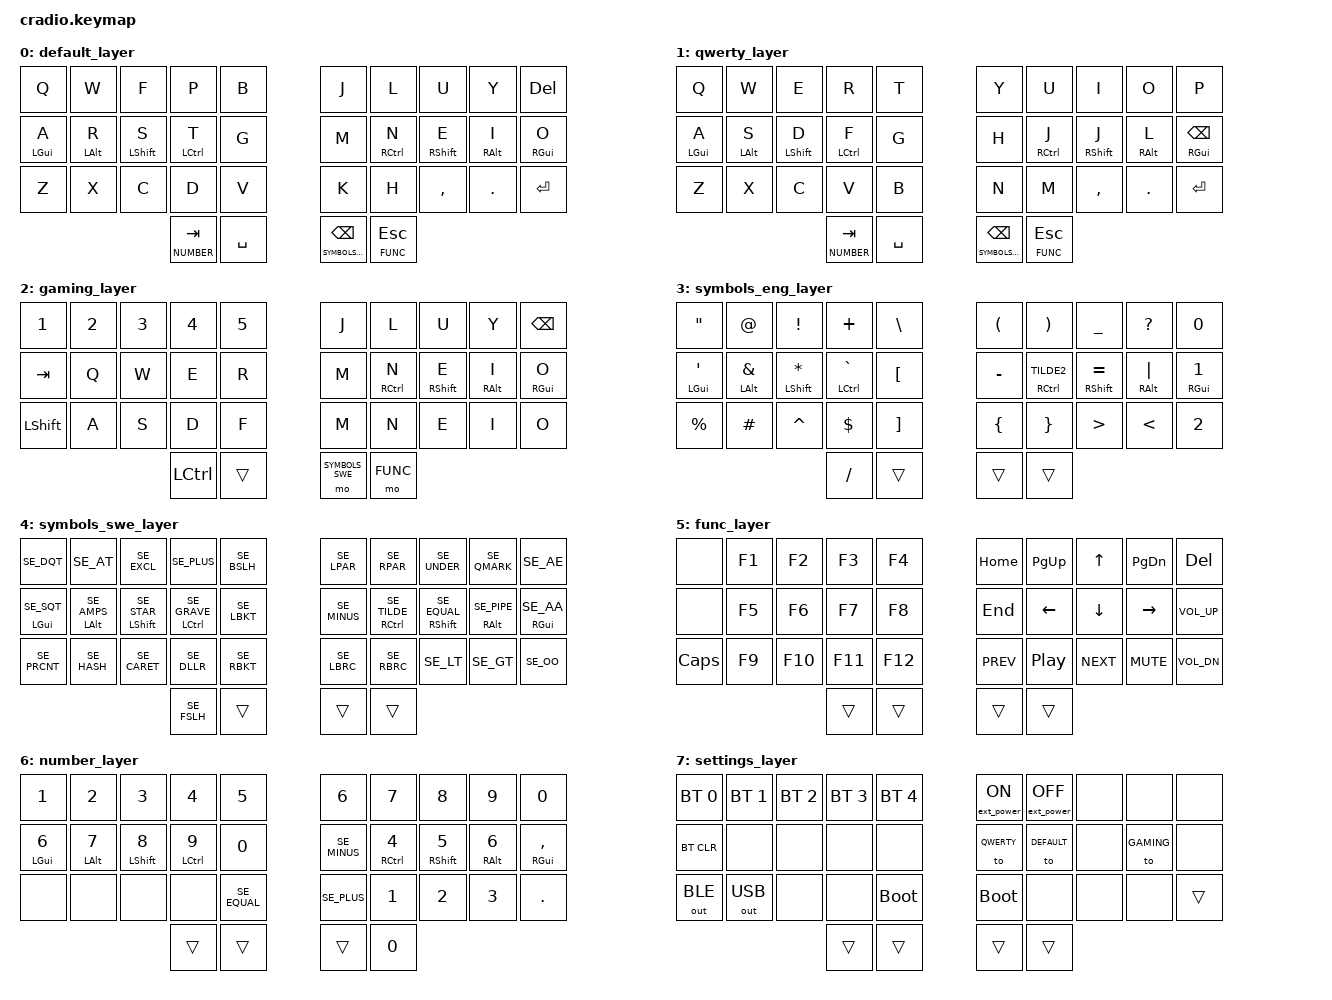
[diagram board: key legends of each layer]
/*
 * Copyright (c) 2020 The ZMK Contributors
 *
 * SPDX-License-Identifier: MIT
 */

#include <behaviors.dtsi>
#include <dt-bindings/zmk/keys.h>
#include <dt-bindings/zmk/bt.h>
#include <dt-bindings/zmk/outputs.h>
#include <dt-bindings/zmk/ext_power.h>
#include "swe_keys.h"

#define DEFAULT     0
#define QWERTY      1
#define GAMING      2
#define SYMBOLS_ENG 3
#define SYMBOLS_SWE 4
#define FUNC        5
#define NUMBER      6
#define SETTINGS    7

/ {
    behaviors {
        hm: homerow_mods {
            compatible = "zmk,behavior-hold-tap";
            label = "HOMEROW_MODS";
            #binding-cells = <2>;
            tapping-term-ms = <200>;
            quick-tap-ms = <0>;
            flavor = "tap-preferred";
            bindings = <&kp>, <&kp>;
        };
        hs: homerow_mods_slow {
            compatible = "zmk,behavior-hold-tap";
            label = "HOMEROW_MODS_SLOW";
            #binding-cells = <2>;
            tapping-term-ms = <300>;
            quick-tap-ms = <0>;
            flavor = "tap-preferred";
            bindings = <&kp>, <&kp>;
        };
    };
    cond_layers {
        compatible = "zmk,conditional-layers";
        // Define SETTINGS layer as tri-state
        func_tristate {
            if-layers = <SYMBOLS_SWE FUNC>;
            then-layer = <SETTINGS>;
        };
    };

/*           34 Keys
╭──────────────╮ ╭──────────────╮
│ 0  1  2  3  4│ │ 5  6  7  8  9│
│10 11 12 13 14│ │15 16 17 18 19│
│20 21 22 23 24│ │25 26 27 28 29│
╰────────╮30 31│ │32 33╭────────╯
         ╰─────╯ ╰─────╯       */
/*    combos {
        compatible = "zmk,combos";

        combo_esc {
            timeout-ms = <50>;
            key-positions = <0 1>;
            bindings = <&kp ESC>;
        };
        combo_tab {
            timeout-ms = <50>;
            key-positions = <10 11>;
            bindings = <&kp TAB>;
        };
        combo_ralt {
            timeout-ms = <50>;
            key-positions = <17 16>;
            bindings = <&kp RALT>;
        };
        combo_lalt {
            timeout-ms = <50>;
            key-positions = <11 12>;
            bindings = <&kp LALT>;
        };
        combo_lgui {
            timeout-ms = <50>;
            key-positions = <12 13>;
            bindings = <&kp LGUI>;
        };
        combo_rgui {
            timeout-ms = <50>;
            key-positions = <17 18>;
            bindings = <&kp RGUI>;
        };
    }; */

    keymap {
        compatible = "zmk,keymap";

        default_layer {
            bindings = <
            &kp Q       &kp W       &kp F         &kp P           &kp B       &kp J                 &kp L         &kp U         &kp Y       &kp DEL
            &hs LGUI A  &hm LALT R  &hm LSHIFT S  &hm LCTRL T     &kp G       &kp M                 &hm RCTRL N   &hm RSHIFT E  &hm RALT I  &hs RGUI O
            &kp Z       &kp X       &kp C         &kp D           &kp V       &kp K                 &kp H         &kp COMMA     &kp DOT     &kp ENTER
                                                  &lt NUMBER TAB  &kp SPACE   &lt SYMBOLS_SWE BSPC  &lt FUNC ESC
            >;
        };

        qwerty_layer {
            bindings = <
            &kp Q       &kp W       &kp E         &kp R           &kp T       &kp Y                 &kp U         &kp I         &kp O       &kp P
            &hs LGUI A  &hm LALT S  &hm LSHIFT D  &hm LCTRL F     &kp G       &kp H                 &hm RCTRL J   &hm RSHIFT J  &hm RALT L  &hs RGUI BSPC
            &kp Z       &kp X       &kp C         &kp V           &kp B       &kp N                 &kp M         &kp COMMA     &kp DOT     &kp ENTER
                                                  &lt NUMBER TAB  &kp SPACE   &lt SYMBOLS_SWE BSPC  &lt FUNC ESC
            >;
        };

        gaming_layer {
            bindings = <
            &kp N1      &kp N2  &kp N3  &kp N4     &kp N5     &kp J            &kp L        &kp U         &kp Y       &kp BSPC
            &kp TAB     &kp Q   &kp W   &kp E      &kp R      &kp M            &hm RCTRL N  &hm RSHIFT E  &hm RALT I  &hs RGUI O
            &kp LSHIFT  &kp A   &kp S   &kp D      &kp F      &kp M            &kp N        &kp E         &kp I       &kp O
                                        &kp LCTRL  &trans     &mo SYMBOLS_SWE  &mo FUNC
            >;
        };

        symbols_eng_layer {
            bindings = <
            &kp DQT       &kp AT         &kp EXCL         &kp PLUS         &kp BSLH    &kp LPAR   &kp RPAR          &kp UNDER         &kp QMARK      &kp N0
            &hs LGUI SQT  &hm LALT AMPS  &hm LSHIFT STAR  &hm LCTRL GRAVE  &kp LBKT    &kp MINUS  &hm RCTRL TILDE2  &hm RSHIFT EQUAL  &hm RALT PIPE  &hs RGUI N1
            &kp PRCNT     &kp HASH       &kp CARET        &kp DLLR         &kp RBKT    &kp LBRC   &kp RBRC          &kp GT            &kp LT         &kp N2
                                                          &kp FSLH         &trans      &trans     &trans
            >;
        };

        symbols_swe_layer {
            bindings = <
            &kp SE_DQT       &kp SE_AT         &kp SE_EXCL         &kp SE_PLUS         &kp SE_BSLH   &kp SE_LPAR   &kp SE_RPAR         &kp SE_UNDER         &kp SE_QMARK      &kp SE_AE
            &hs LGUI SE_SQT  &hm LALT SE_AMPS  &hm LSHIFT SE_STAR  &hm LCTRL SE_GRAVE  &kp SE_LBKT   &kp SE_MINUS  &hm RCTRL SE_TILDE  &hm RSHIFT SE_EQUAL  &hm RALT SE_PIPE  &hs RGUI SE_AA
            &kp SE_PRCNT     &kp SE_HASH       &kp SE_CARET        &kp SE_DLLR         &kp SE_RBKT   &kp SE_LBRC   &kp SE_RBRC         &kp SE_LT            &kp SE_GT         &kp SE_OO
                                                                   &kp SE_FSLH         &trans        &trans        &trans
            >;
        };

        func_layer {
            bindings = <
            &none     &kp F1  &kp F2   &kp F3   &kp F4     &kp HOME    &kp PG_UP  &kp UP      &kp PG_DN   &kp DEL
            &none     &kp F5  &kp F6   &kp F7   &kp F8     &kp END     &kp LEFT   &kp DOWN    &kp RIGHT   &kp C_VOL_UP
            &kp CAPS  &kp F9  &kp F10  &kp F11  &kp F12    &kp C_PREV  &kp C_PP   &kp C_NEXT  &kp K_MUTE  &kp C_VOL_DN
                                       &trans   &trans     &trans      &trans
            >;
        };

        number_layer {
            bindings = <
            &kp N1       &kp N2      &kp N3         &kp N4        &kp N5        &kp N6        &kp N7        &kp N8         &kp N9       &kp N0
            &hs LGUI  N6 &hm LALT N7 &hm LSHIFT N8  &hm LCTRL N9  &kp N0        &kp SE_MINUS  &hm RCTRL N4  &hm RSHIFT N5  &hm RALT N6  &hm RGUI COMMA
            &none        &none       &none          &none         &kp SE_EQUAL  &kp SE_PLUS   &kp N1        &kp N2         &kp N3       &kp DOT
                                                    &trans        &trans        &trans        &kp N0
            >;
        };

        settings_layer {
            bindings = <
            &bt BT_SEL 0  &bt BT_SEL 1  &bt BT_SEL 2  &bt BT_SEL 3  &bt BT_SEL 4   &ext_power EP_ON  &ext_power EP_OFF  &none  &none       &none
            &bt BT_CLR    &none         &none         &none         &none          &to QWERTY        &to DEFAULT        &none  &to GAMING  &none
            &out OUT_BLE  &out OUT_USB  &none         &none         &bootloader    &bootloader       &none              &none  &none       &trans
                                                      &trans        &trans         &trans            &trans
            >;
        };
    };
};

